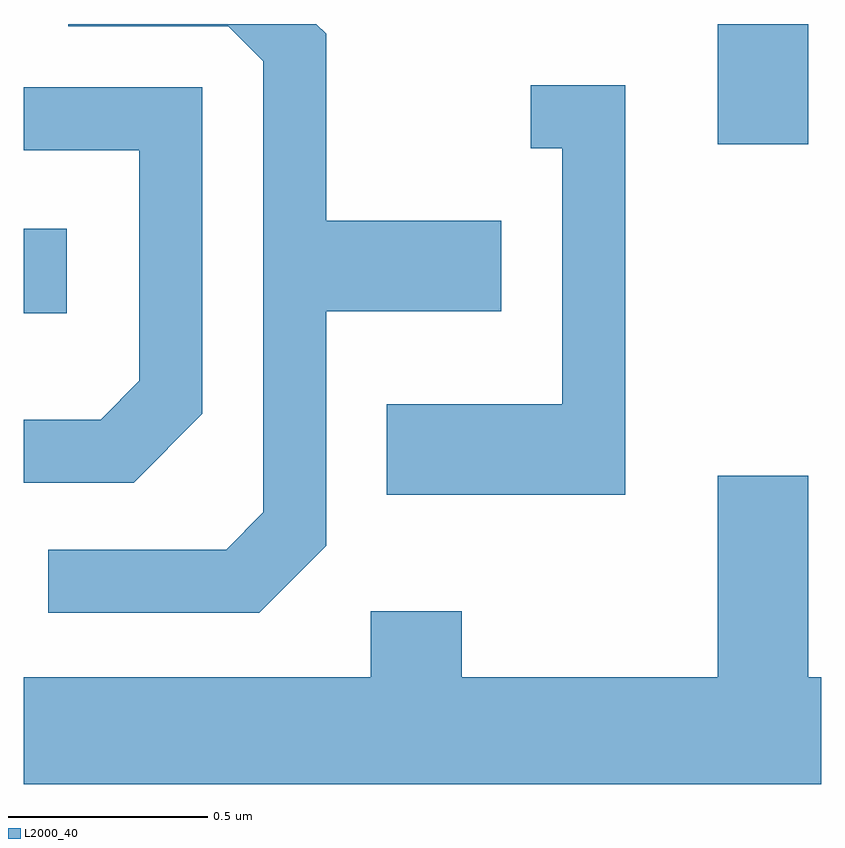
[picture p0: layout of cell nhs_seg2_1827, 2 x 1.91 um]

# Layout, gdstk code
import gdstk
lib = gdstk.Library(unit=1e-6, precision=1e-09)
def R(c, l, rs):  # rectangles x0, y0, x1, y1
    for r in rs: c.add(gdstk.rectangle(r[:2], r[2:], *l))
def P(c, l, *ps):  # polygons
    for p in ps: c.add(gdstk.Polygon(p, *l))
L2000_40 = (2000, 40)

nhs_seg2_1827 = lib.new_cell('nhs_seg2_1827')
R(nhs_seg2_1827, L2000_40, [(198.611,1025.076,198.719,1025.289), (200.351,1025.501,200.579,1025.802)])
P(nhs_seg2_1827, L2000_40, [(199.369,1024.494),(199.369,1025.081),(199.809,1025.081),(199.809,1025.309),(199.369,1025.309),(199.369,1025.777),(199.344,1025.802),(198.723,1025.802),(198.723,1025.796),(199.124,1025.796),(199.211,1025.709),(199.211,1024.577),(199.119,1024.484),(198.673,1024.484),(198.673,1024.326),(199.202,1024.326)],
  [(200.119,1025.649),(199.883,1025.649),(199.883,1025.491),(199.961,1025.491),(199.961,1024.849),(199.521,1024.849),(199.521,1024.621),(200.119,1024.621)],
  [(199.059,1024.824),(199.059,1025.644),(198.611,1025.644),(198.611,1025.486),(198.901,1025.486),(198.901,1024.907),(198.804,1024.809),(198.611,1024.809),(198.611,1024.651),(198.887,1024.651)],
  [(200.611,1024.164),(200.579,1024.164),(200.579,1024.669),(200.351,1024.669),(200.351,1024.164),(199.709,1024.164),(199.709,1024.329),(199.481,1024.329),(199.481,1024.164),(198.611,1024.164),(198.611,1023.896),(200.611,1023.896)])

lib.write_gds('nhs_seg2_1827.gds')
